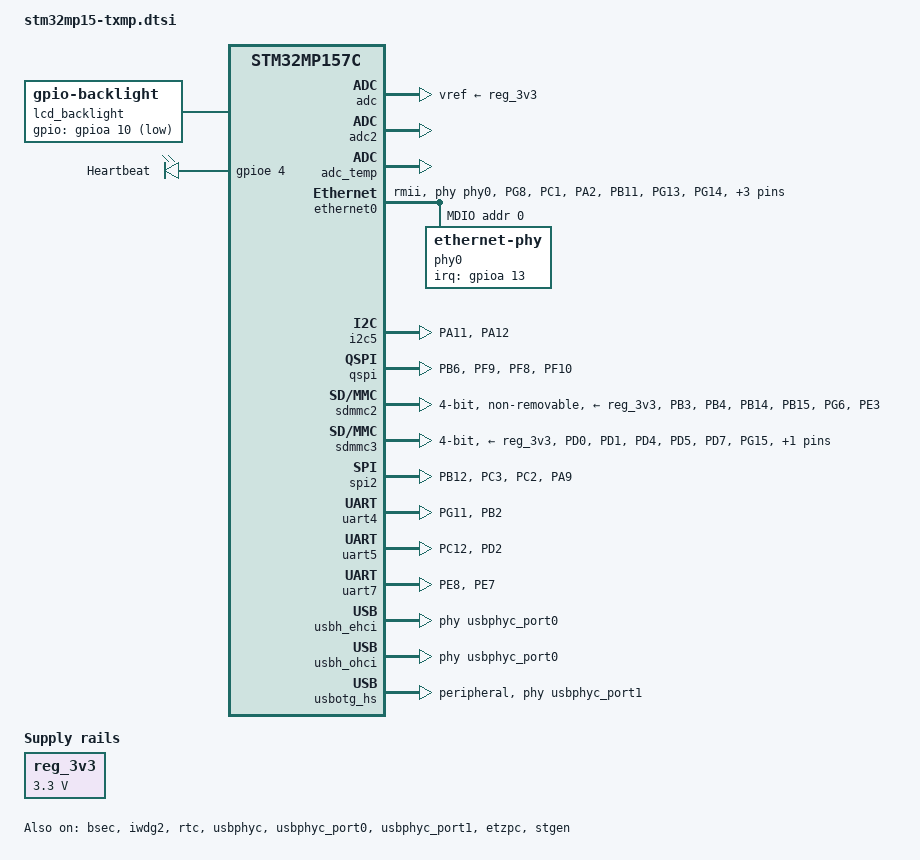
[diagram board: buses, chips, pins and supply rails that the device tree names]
// SPDX-License-Identifier: (GPL-2.0+ OR BSD-3-Clause)
/*
 * Copyright (C) STMicroelectronics 2019 - All Rights Reserved
 * Author: STM32CubeMX code generation for STMicroelectronics.
 */

/dts-v1/;

#include <dt-bindings/clock/stm32mp1-clks.h>
#include <dt-bindings/gpio/gpio.h>

#include "stm32mp157c.dtsi"
#include "stm32mp157c-m4-srm.dtsi"
#include "stm32mp157cab-pinctrl.dtsi"
#include "stm32mp15-ddr.dtsi"

/ {
	aliases {
		ethernet0 = &ethernet0;
		mmc0 = &sdmmc2;
		mmc1 = &sdmmc3;
		mmc2 = &sdmmc1;
		spinor0 = &flash0;
		serial0 = &uart4;
		serial1 = &uart7;
		serial2 = &uart5;
	};

	chosen {
		stdout-path = "serial0:115200n8";
	};

	lcd_backlight: lcd-backlight {
		compatible = "gpio-backlight";
		gpios = <&gpioa 10 GPIO_ACTIVE_LOW>;
		default-on;
	};

	leds {
		compatible = "gpio-leds";

		module_led {
			gpios = <&gpioe 4 GPIO_ACTIVE_HIGH>;
			label = "Heartbeat";
			linux,default-trigger = "heartbeat";
		};
	};

	reg_3v3: regulator-3v3 {
		compatible = "regulator-fixed";
		regulator-name = "3v3";
		regulator-min-microvolt = <3300000>;
		regulator-max-microvolt = <3300000>;
		regulator-always-on;
	};

	soc {
		etzpc: etzpc@5c007000 {
			compatible = "st,stm32mp1-etzpc";
			reg = <0x5c007000 0x400>;
			clocks = <&rcc TZPC>;
			status = "okay";
			secure-status = "okay";
		};

		stgen: stgen@5c008000 {
			compatible = "st,stm32-stgen";
			reg = <0x5c008000 0x1000>;
			status = "okay";
		};
	};

	usb_phy_tuning: usb-phy-tuning {
		st,hs-dc-level = <2>;
		st,fs-rftime-tuning;
		st,hs-rftime-reduction;
		st,hs-current-trim = <15>;
		st,hs-impedance-trim = <1>;
		st,squelch-level = <3>;
		st,hs-rx-offset = <2>;
		st,no-lsfs-sc;
	};
};

&adc {
	vdda-supply = <&reg_3v3>;
	vref-supply = <&reg_3v3>;
	status = "okay";
};

&adc2 {
	status = "okay";
};

&adc_temp {
	status = "okay";
};

&bsec {
	status = "okay";
	secure-status = "okay";
};

&clk_lse {
	status = "disabled";
};

&ethernet0 {
	pinctrl-names = "default", "sleep";
	pinctrl-0 = <&ethernet0_rmii_pins>;
	pinctrl-1 = <&ethernet0_rmii_pins_sleep>;
	phy-mode = "rmii";
	max-speed = <100>;
	phy-handle = <&phy0>;
	clock-names = "stmmaceth", "mac-clk-tx", "mac-clk-rx",
		      "ethstp", "syscfg-clk", "eth-ck";
	clocks = <&rcc ETHMAC &rcc ETHTX &rcc ETHRX
		  &rcc ETHSTP &rcc SYSCFG &rcc ETHCK_K>;
	st,eth_ref_clk_sel;
	status = "okay";

	mdio0 {
		#address-cells = <1>;
		#size-cells = <0>;
		compatible = "snps,dwmac-mdio";
		reset-gpios = <&gpioa 14 GPIO_ACTIVE_LOW>;

		phy0: ethernet-phy@0 {
			//compatible = "ethernet-phy-ieee802.3-c22";
			reg = <0>;
			interrupt-parent = <&gpioa>;
			interrupts = <13 IRQ_TYPE_EDGE_FALLING>;
			smsc,disable-energy-detect;
		};
	};
};

&i2c5 {
	pinctrl-names = "default", "sleep";
	pinctrl-0 = <&txmp_i2c5_pins>;
	pinctrl-1 = <&txmp_i2c5_sleep_pins>;
};

&iwdg2 {
	timeout-sec = <32>;
	status = "okay";
};

&qspi {
	pinctrl-names = "default";
	pinctrl-0 = <&quadspi_pins_mx>;
	reg = <0x58003000 0x1000>, <0x70000000 0x1000000>;
	status = "okay";

	flash0: gd25q16c@0 {
		#address-cells = <1>;
		#size-cells = <1>;
		compatible = "gd25q16c", "spi-flash";
		reg = <0>;
		spi-rx-bus-width = <2>;
		spi-max-frequency = <104000000>;
		memory-map = <0x90000000 0x1000000>;
		status = "disabled";
	};
};

&rtc {
	status = "okay";
	secure-status = "okay";
};

&sdmmc2 {
	/* eMMC */
	pinctrl-names = "default", "opendrain", "sleep";
	pinctrl-0 = <&sdmmc2_pins_mx>;
	pinctrl-1 = <&sdmmc2_pins_opendrain_mx>;
	pinctrl-2 = <&sdmmc2_pins_sleep_mx>;
	bus-width = <4>;
	vmmc-supply = <&reg_3v3>;
	no-1-8-v;
	no-sd;
	no-sdio;
	st,neg-edge;
	non-removable;
	status = "okay";
};

&sdmmc3 {
	/* SD card slot */
	pinctrl-names = "default", "opendrain", "sleep";
	pinctrl-0 = <&sdmmc3_pins_mx>;
	pinctrl-1 = <&sdmmc3_opendrain_pins_mx>;
	pinctrl-2 = <&sdmmc3_sleep_pins_mx>;
	cd-gpios = <&gpioc 11 GPIO_ACTIVE_LOW>;
	bus-width = <4>;
	vmmc-supply = <&reg_3v3>;
	no-1-8-v;
	st,neg-edge;
//	st,sig-dir;
	st,use-ckin;
	status = "okay";
};

&spi2 {
	pinctrl-names = "default", "sleep";
	pinctrl-0 = <&spi2_pins_mx>;
	pinctrl-1 = <&spi2_sleep_pins_mx>;
	status = "okay";
};

&uart4 {
	pinctrl-names = "default", "sleep";
	pinctrl-0 = <&txmp_uart4_pins>;
	pinctrl-1 = <&txmp_uart4_sleep_pins>;
	status = "okay";
};

&uart5 {
	pinctrl-names = "default", "sleep";
	pinctrl-0 = <&txmp_uart5_pins>;
	pinctrl-1 = <&txmp_uart5_sleep_pins>;
	status = "okay";
};

&uart7 {
	pinctrl-names = "default", "sleep";
	pinctrl-0 = <&txmp_uart7_pins>;
	pinctrl-1 = <&txmp_uart7_sleep_pins>;
	status = "okay";
};

&usbh_ehci {
	pinctrl-names = "default", "sleep";
	phy-names = "usb";
	phys = <&usbphyc_port0>;
	status = "okay";
};

&usbh_ohci {
	phy-names = "usb";
	phys = <&usbphyc_port0>;
	status = "okay";
};

&usbotg_hs {
	dr_mode = "peripheral";
	phys = <&usbphyc_port1 0>;
	phy-names = "usb2-phy";
	status = "okay";
};

&usbphyc {
	vdd3v3-supply = <&reg_3v3>;
	status = "okay";
};

&usbphyc_port0 {
	status = "okay";
};

&usbphyc_port1 {
	status = "okay";
};

&pinctrl {
	ethernet0_rmii_pins: ethernet0-rmii-pins {
		pins1 {
			pinmux = <
				  STM32_PINMUX('G', 8, AF2)	/* ETH_CLK */
				  STM32_PINMUX('C', 1, AF11)	/* ETH_MDC */
				  STM32_PINMUX('A', 2, AF11)	/* ETH_MDIO */
				  STM32_PINMUX('B', 11, AF11)	/* ETH_RMII_TX_EN */
				  STM32_PINMUX('G', 13, AF11)	/* ETH_RMII_TXD0 */
				  STM32_PINMUX('G', 14, AF11)	/* ETH_RMII_TXD1 */
			>;
			bias-disable;
			drive-push-pull;
			slew-rate = <2>;
		};

		pins2 {
			pinmux = <
				  STM32_PINMUX('C', 4, AF11)	/* ETH_RMII_RXD0 */
				  STM32_PINMUX('C', 5, AF11)	/* ETH_RMII_RXD1 */
				  STM32_PINMUX('A', 7, AF11)	/* ETH_RMII_CRS_DV */
			>;
			bias-disable;
		};
	};

	ethernet0_rmii_pins_sleep: rmii-pins-sleep {
		pins1 {
			pinmux = <
				  STM32_PINMUX('G', 8, ANALOG)	/* ETH_CLK */
				  STM32_PINMUX('G', 13, ANALOG)	/* ETH_RMII_TXD0 */
				  STM32_PINMUX('G', 14, ANALOG)	/* ETH_RMII_TXD1 */
				  STM32_PINMUX('B', 11, ANALOG)	/* ETH_RMII_TX_EN */
				  STM32_PINMUX('A', 2, ANALOG)	/* ETH_MDIO */
				  STM32_PINMUX('C', 1, ANALOG)	/* ETH_MDC */
				  STM32_PINMUX('C', 4, ANALOG)	/* ETH_RMII_RXD0 */
				  STM32_PINMUX('C', 5, ANALOG)	/* ETH_RMII_RXD1 */
				  STM32_PINMUX('A', 7, ANALOG)	/* ETH_RMII_CRS_DV */
			>;
		};
	};

	quadspi_pins_mx: quadspi-pins-mx {
		pins1 {
			pinmux = <
				  STM32_PINMUX('B', 6, AF10)	/* QUADSPI_BK1_NCS */
				  STM32_PINMUX('F', 9, AF10)	/* QUADSPI_BK1_IO1 */
				  STM32_PINMUX('F', 8, AF10)	/* QUADSPI_BK1_IO0 */
			>;
			bias-disable;
			drive-push-pull;
			slew-rate = <1>;
		};

		pins2 {
			pinmux = <STM32_PINMUX('F', 10, AF9)>; /* QUADSPI_CLK */
			bias-disable;
			drive-push-pull;
			slew-rate = <2>;
		};
	};

	sdmmc2_pins_mx: sdmmc2-pins-mx {
		pins1 {
			pinmux = <
				  STM32_PINMUX('B', 3, AF9)	/* SDMMC2_D2 */
				  STM32_PINMUX('B', 4, AF9)	/* SDMMC2_D3 */
				  STM32_PINMUX('B', 14, AF9)	/* SDMMC2_D0 */
				  STM32_PINMUX('B', 15, AF9)	/* SDMMC2_D1 */
				  STM32_PINMUX('G', 6, AF10)	/* SDMMC2_CMD */
			>;
			bias-disable;
			drive-push-pull;
			slew-rate = <1>;
		};

		pins2 {
			pinmux = <STM32_PINMUX('E', 3, AF9)>; /* SDMMC2_CK */
			bias-disable;
			drive-push-pull;
			slew-rate = <3>;
		};
	};

	sdmmc2_pins_opendrain_mx: sdmmc2-pins-opendrain-mx {
		pins1 {
			pinmux = <
				  STM32_PINMUX('G', 6, AF10)	/* SDMMC2_CMD */
			>;
			bias-disable;
			drive-open-drain;
			slew-rate = <1>;
		};

		pins2 {
			pinmux = <
				  STM32_PINMUX('B', 3, AF9)	/* SDMMC2_D2 */
				  STM32_PINMUX('B', 4, AF9)	/* SDMMC2_D3 */
				  STM32_PINMUX('B', 14, AF9)	/* SDMMC2_D0 */
				  STM32_PINMUX('B', 15, AF9)	/* SDMMC2_D1 */
			>;
			bias-disable;
			drive-push-pull;
			slew-rate = <1>;
		};

		pins3 {
			pinmux = <STM32_PINMUX('E', 3, AF9)>; /* SDMMC2_CK */
			bias-disable;
			drive-push-pull;
			slew-rate = <3>;
		};
	};

	sdmmc2_pins_sleep_mx: sdmmc2-pins-sleep-mx {
		pins {
			pinmux = <
				  STM32_PINMUX('B', 3, ANALOG)	/* SDMMC2_D2 */
				  STM32_PINMUX('B', 4, ANALOG)	/* SDMMC2_D3 */
				  STM32_PINMUX('B', 14, ANALOG)	/* SDMMC2_D0 */
				  STM32_PINMUX('B', 15, ANALOG)	/* SDMMC2_D1 */
				  STM32_PINMUX('G', 6, ANALOG)	/* SDMMC2_CMD */
				  STM32_PINMUX('E', 3, ANALOG)	/* SDMMC2_CK */
			>;
		};
	};

	sdmmc3_pins_mx: sdmmc3-pins-mx {
		pins1 {
			pinmux = <
				  STM32_PINMUX('D', 0, AF10)	/* SDMMC3_CMD */
				  STM32_PINMUX('D', 1, AF10)	/* SDMMC3_D0 */
				  STM32_PINMUX('D', 4, AF10)	/* SDMMC3_D1 */
				  STM32_PINMUX('D', 5, AF10)	/* SDMMC3_D2 */
				  STM32_PINMUX('D', 7, AF10)	/* SDMMC3_D3 */
			>;
			bias-disable;
			drive-push-pull;
			slew-rate = <1>;
		};

		pins2 {
			pinmux = <STM32_PINMUX('G', 15, AF10)>; /* SDMMC3_CK */
			bias-disable;
			drive-push-pull;
			slew-rate = <2>;
		};
	};

	sdmmc3_opendrain_pins_mx: sdmmc3-opendrain-mx {
		pins1 {
			pinmux = <STM32_PINMUX('D', 0, AF10)>; /* SDMMC3_CMD */
			bias-disable;
			drive-open-drain;
			slew-rate = <1>;
		};

		pins2 {
			pinmux = <
				  STM32_PINMUX('D', 1, AF10) /* SDMMC3_D0 */
				  STM32_PINMUX('D', 4, AF10) /* SDMMC3_D1 */
				  STM32_PINMUX('D', 5, AF10) /* SDMMC3_D2 */
				  STM32_PINMUX('D', 7, AF10) /* SDMMC3_D3 */
			>;
			bias-disable;
			drive-push-pull;
			slew-rate = <1>;
		};

		pins3 {
			pinmux = <STM32_PINMUX('G', 15, AF10)>; /* SDMMC3_CK */
			bias-disable;
			drive-push-pull;
			slew-rate = <3>;
		};
	};

	sdmmc3_sleep_pins_mx: sdmmc3-sleep-mx {
		pins {
			pinmux = <
				  STM32_PINMUX('D', 0, ANALOG) /* SDMMC3_CMD */
				  STM32_PINMUX('D', 1, ANALOG) /* SDMMC3_D0 */
				  STM32_PINMUX('D', 4, ANALOG) /* SDMMC3_D1 */
				  STM32_PINMUX('D', 5, ANALOG) /* SDMMC3_D2 */
				  STM32_PINMUX('D', 7, ANALOG) /* SDMMC3_D3 */
				  STM32_PINMUX('G', 15, ANALOG) /* SDMMC3_CK */
			>;
		};
	};

	spi2_pins_mx: spi2-mx {
		pins {
			pinmux = <
				  STM32_PINMUX('B', 12, AF5) /* SPI2_NSS */
				  STM32_PINMUX('C', 3, AF5) /* SPI2_MOSI */
				  STM32_PINMUX('C', 2, AF5) /* SPI2_MISO */
				  STM32_PINMUX('A', 9, AF5) /* SPI2_SCK */
			>;
			bias-disable;
			drive-push-pull;
			slew-rate = <1>;
		};
	};

	spi2_sleep_pins_mx: spi2-sleep-mx {
		pins {
			pinmux = <
				  STM32_PINMUX('B', 12, ANALOG) /* SPI2_NSS */
				  STM32_PINMUX('C', 3, ANALOG) /* SPI2_MOSI */
				  STM32_PINMUX('C', 2, ANALOG) /* SPI2_MISO */
				  STM32_PINMUX('A', 9, ANALOG) /* SPI2_SCK */
			>;
		};
	};

	txmp_i2c5_pins: i2c5-pins {
		pins {
			pinmux = <
				  STM32_PINMUX('A', 11, AF4) /* I2C5_SCL */
				  STM32_PINMUX('A', 12, AF4) /* I2C5_SDA */
			>;
			bias-disable;
			drive-open-drain;
			slew-rate = <0>;
		};
	};

	txmp_i2c5_sleep_pins: i2c5-sleep-pins {
		pins {
			pinmux = <
				  STM32_PINMUX('A', 11, ANALOG) /* I2C5_SCL */
				  STM32_PINMUX('A', 12, ANALOG) /* I2C5_SDA */
			>;
		};
	};

	txmp_uart4_pins: txmp-uart4-pins {
		pins1 {
			pinmux = <STM32_PINMUX('G', 11, AF6)>; /* UART4_TX */
			bias-disable;
			drive-push-pull;
			slew-rate = <0>;
		};

		pins2 {
			pinmux = <STM32_PINMUX('B', 2, AF8)>; /* UART4_RX */
			bias-disable;
		};
	};

	txmp_uart4_sleep_pins: txmp-uart4-sleep-pins {
		pins {
			pinmux = <
				  STM32_PINMUX('G', 11, ANALOG) /* UART4_TX */
				  STM32_PINMUX('B', 2, ANALOG) /* UART4_RX */
			>;
		};
	};

	txmp_uart4_rts_pins: txmp-uart4-rts-pins {
		pins1 {
			pinmux = <STM32_PINMUX('A', 15, AF8)>; /* UART4_RTS */
			bias-disable;
			drive-push-pull;
			slew-rate = <0>;
		};
	};

	txmp_uart4_rts_sleep_pins: txmp-uart4-rts-sleep-pins {
		pins {
			pinmux = <STM32_PINMUX('A', 15, ANALOG)>; /* UART4_RTS */
		};
	};

	txmp_uart5_pins: txmp-uart5 {
		pins1 {
			pinmux = <
				  STM32_PINMUX('C', 12, AF8) /* UART5_TX */
			>;
			bias-disable;
			drive-push-pull;
			slew-rate = <0>;
		};

		pins2 {
			pinmux = <
				  STM32_PINMUX('D', 2, AF8) /* UART5_RX */
			>;
			bias-disable;
		};
	};

	txmp_uart5_sleep_pins: txmp-uart5-sleep {
		pins {
			pinmux = <
				  STM32_PINMUX('C', 12, ANALOG) /* UART5_TX */
				  STM32_PINMUX('D', 2, ANALOG) /* UART5_RX */
			>;
		};
	};

	txmp_uart5_rtscts_pins: txmp-uart5-rtscts {
		pins1 {
			pinmux = <STM32_PINMUX('C', 8, AF8)>; /* UART5_RTS */
			bias-disable;
			drive-push-pull;
			slew-rate = <0>;
		};

		pins2 {
			pinmux = <STM32_PINMUX('C', 9, AF8)>; /* UART5_CTS */
			bias-disable;
		};
	};

	txmp_uart5_rtscts_sleep_pins: txmp-uart5-rtscts-sleep {
		pins {
			pinmux = <
				  STM32_PINMUX('C', 8, ANALOG) /* UART5_RTS */
				  STM32_PINMUX('C', 9, ANALOG) /* UART5_CTS */
			>;
		};
	};

	txmp_uart7_pins: uart7 {
		pins1 {
			pinmux = <STM32_PINMUX('E', 8, AF7)>; /* UART7_TX */
			bias-disable;
			drive-push-pull;
			slew-rate = <0>;
		};

		pins2 {
			pinmux = <STM32_PINMUX('E', 7, AF7)>; /* UART7_RX */
			bias-disable;
		};
	};

	txmp_uart7_sleep_pins: uart7-sleep {
		pins {
			pinmux = <
				  STM32_PINMUX('E', 8, ANALOG) /* UART7_TX */
				  STM32_PINMUX('E', 7, ANALOG) /* UART7_RX */
			>;
		};
	};

	txmp_uart7_rtscts_pins: uart7-rtscts {
		pins1 {
			pinmux = <STM32_PINMUX('E', 9, AF7)>; /* UART7_RTS */
			bias-disable;
			drive-push-pull;
			slew-rate = <0>;
		};

		pins2 {
			pinmux = <STM32_PINMUX('E', 10, AF7)>; /* UART7_CTS */
			bias-disable;
		};
	};

	txmp_uart7_rtscts_sleep_pins: uart7-rtscts-sleep {
		pins {
			pinmux = <
				  STM32_PINMUX('E', 8, ANALOG) /* UART7_TX */
				  STM32_PINMUX('E', 7, ANALOG) /* UART7_RX */
				  STM32_PINMUX('E', 9, ANALOG) /* UART7_RTS */
				  STM32_PINMUX('E', 10, ANALOG) /* UART7_CTS */
			>;
		};
	};
};
